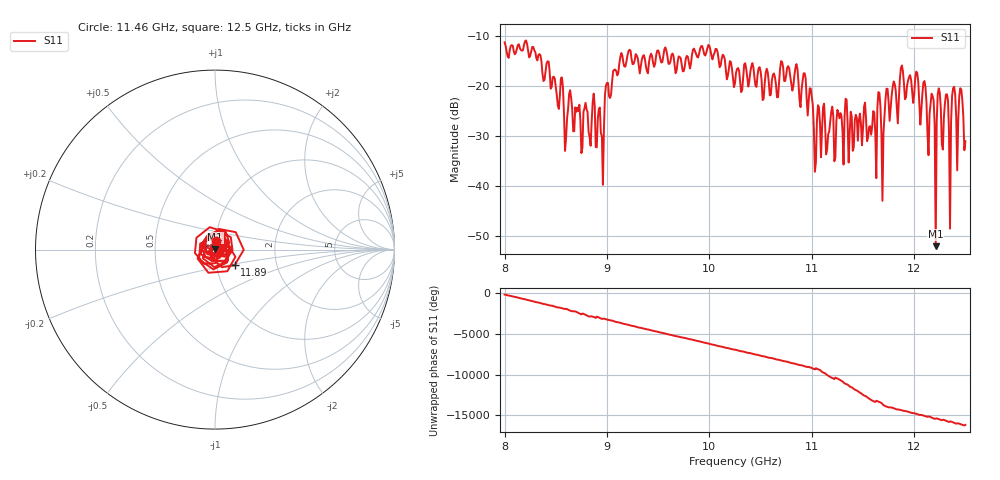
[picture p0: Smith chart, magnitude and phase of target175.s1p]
#  HZ  S  RI  R  50.00
! Rohde & Schwarz Vector Network Analyzer
! Rohde-Schwarz,ZNA43-4Port,1332450044101932,2.92
! Created: UTC 6/9/2026, 6:47:31 AM
! freq[Hz]  re:S11  im:S11
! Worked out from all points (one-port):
!   451 points, 8 GHz to 12.5 GHz, reference 50 ohm
!   lowest |S11| = -52.0 dB at 12.21 GHz (marker M1), VSWR 1.01, Z = 50.1 + j0.205 ohm
!   |S11| at or under -10 dB: start of sweep to end of sweep
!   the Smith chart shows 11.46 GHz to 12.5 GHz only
!   S11 on the Smith chart (normalised r, x): 11.46 GHz: 1.00, +0.09; 11.89 GHz: 1.22, -0.22; 12.5 GHz: 1.06, +0.01
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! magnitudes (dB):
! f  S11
! 8 GHz  -11.3
! 8.28 GHz  -12.2
! 8.57 GHz  -20.4
! 8.95 GHz  -30.1
! 9 GHz  -19.4
! 9.13 GHz  -14.2
! 9.69 GHz  -15.2
! 9.99 GHz  -11.8
! 10.25 GHz  -19.4
! 10.82 GHz  -20.0
! 10.99 GHz  -20.6
! 11.03 GHz  -37.2
! 11.38 GHz  -25.2
! 11.46 GHz  -26.9
! 11.66 GHz  -21.4
! 11.69 GHz  -43.0
! 11.73 GHz  -20.5
! 11.89 GHz  -17.1
! 11.94 GHz  -18.9
! 12.1 GHz  -19.0
! 12.14 GHz  -33.9
! 12.17 GHz  -21.6
! 12.21 GHz  -52.0
! 12.24 GHz  -20.5
! 12.35 GHz  -48.5
! 12.39 GHz  -20.2
! 12.46 GHz  -20.7
! 12.5 GHz  -31.1
